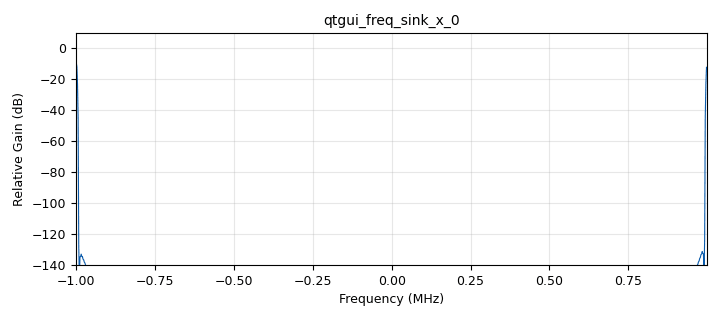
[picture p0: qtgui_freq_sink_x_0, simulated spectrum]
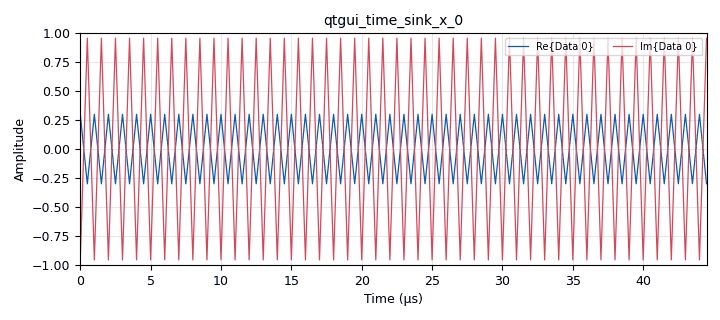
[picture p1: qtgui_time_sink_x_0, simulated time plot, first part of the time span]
options:
  parameters:
    generate_options: qt_gui
    id: modified_replay
    output_language: python
    title: Not titled yet
  states: {}

blocks:
- name: samp_rate
  id: variable
  parameters:
    value: 2e6
  states: {}
- name: value
  id: variable
  parameters:
    value: 27e6
  states: {}
- name: analog_sig_source_x_0
  id: analog_sig_source_x
  parameters:
    amp: '1'
    freq: value
    offset: '0'
    phase: '0'
    samp_rate: samp_rate
    type: complex
    waveform: analog.GR_COS_WAVE
  states: {}
- name: blocks_multiply_xx_0
  id: blocks_multiply_xx
  parameters:
    type: complex
  states: {}
- name: blocks_repeat_0
  id: blocks_repeat
  parameters:
    interp: '1030'
    type: complex
  states: {}
- name: blocks_throttle_0
  id: blocks_throttle
  parameters:
    samples_per_second: samp_rate
    type: complex
  states: {}
- name: blocks_vector_source_x_0
  id: blocks_vector_source_x
  parameters:
    repeat: 'True'
    type: complex
    vector: (1,1,1,0,1,1,1,0,1,1,1,0,1,1,1,0,1,0,1,0,1,0,1,0,1,0,1,0,1,0,1,0,1,0,1,0)
  states: {state: disabled}
- name: blocks_vector_source_x_1
  id: blocks_vector_source_x
  parameters:
    repeat: 'True'
    type: complex
    vector: (1,1,1,0,1,1,1,0,1,1,1,0,1,1,1,0,1,0,1,0,1,0,1,0,1,0,1,0,1,0,1,0,1,0,1,0,1,0,1,0,1,0,1,0,1,0,1,0,1,0,1,0,1,0,1,0,1,0,1,0,1,0,1,0,1,0,1,0,1,0,1,0,1,0,1,0,1,0,1,0,1,0,1,0,1,0,1,0,1,0,1,0,1,0,1,0)
  states: {}
- name: blocks_vector_source_x_2
  id: blocks_vector_source_x
  parameters:
    repeat: 'True'
    type: complex
    vector: (1,1,1,0,1,1,1,0,1,1,1,0,1,1,1,0,1,0,1,0,1,0,1,0,1,0,1,0,1,0,1,0,1,0,1,0,1,0,1,0,1,0,1,0,1,0,1,0,1,0,1,0,1,0,1,0,1,0,1,0,1,0,1,0,1,0,1,0,1,0,1,0,1,0,1,0,1,0,1,0,1,0,1,0,1,0,1,0,1,0,1,0,1,0,1,0,1,0,1,0,1,0,1,0,1,0,1,0,1,0,1,0,1,0,1,0,1,0,1,0,1,0,1,0,1,0,1,0,1,0,1,0)
  states: {state: disabled}
- name: blocks_vector_source_x_3
  id: blocks_vector_source_x
  parameters:
    repeat: 'True'
    type: complex
    vector: (1,1,1,0,1,1,1,0,1,1,1,0,1,1,1,0,1,0,1,0,1,0,1,0,1,0,1,0,1,0,1,0,1,0,1,0,1,0,1,0,1,0,1,0,1,0,1,0,1,0,1,0,1,0,1,0,1,0,1,0,1,0,1,0,1,0,1,0,1,0,1,0,1,0,1,0,1,0,1,0,1,0,1,0,1,0,1,0,1,0,1,0,1,0,1,0,1,0,1,0,1,0,1,0,1,0,1,0,1,0,1,0,1,0,1,0,1,0,1,0,1,0,1,0,1,0,1,0,1,0,1,0,1,0,1,0,1,0,1,0,1,0,1,0,)
  states: {state: disabled}
- name: osmosdr_sink_0
  id: osmosdr_sink
  parameters:
    bb_gain0: '20'
    freq0: 27e6
    gain0: '10'
    if_gain0: '47'
    sample_rate: samp_rate
    sync: sync
    type: fc32
  states: {}
- name: qtgui_freq_sink_x_0
  id: qtgui_freq_sink_x
  parameters:
    bw: samp_rate
    fc: '0'
    fftsize: '1024'
    type: complex
    wintype: firdes.WIN_BLACKMAN_hARRIS
  states: {}
- name: qtgui_time_sink_x_0
  id: qtgui_time_sink_x
  parameters:
    size: '1024'
    srate: samp_rate
    type: complex
  states: {}

connections:
- [analog_sig_source_x_0, '0', blocks_multiply_xx_0, '1']
- [blocks_multiply_xx_0, '0', blocks_throttle_0, '0']
- [blocks_repeat_0, '0', blocks_multiply_xx_0, '0']
- [blocks_throttle_0, '0', osmosdr_sink_0, '0']
- [blocks_throttle_0, '0', qtgui_freq_sink_x_0, '0']
- [blocks_throttle_0, '0', qtgui_time_sink_x_0, '0']
- [blocks_vector_source_x_0, '0', blocks_repeat_0, '0']
- [blocks_vector_source_x_1, '0', blocks_repeat_0, '0']
- [blocks_vector_source_x_2, '0', blocks_repeat_0, '0']
- [blocks_vector_source_x_3, '0', blocks_repeat_0, '0']

metadata:
  file_format: 1
